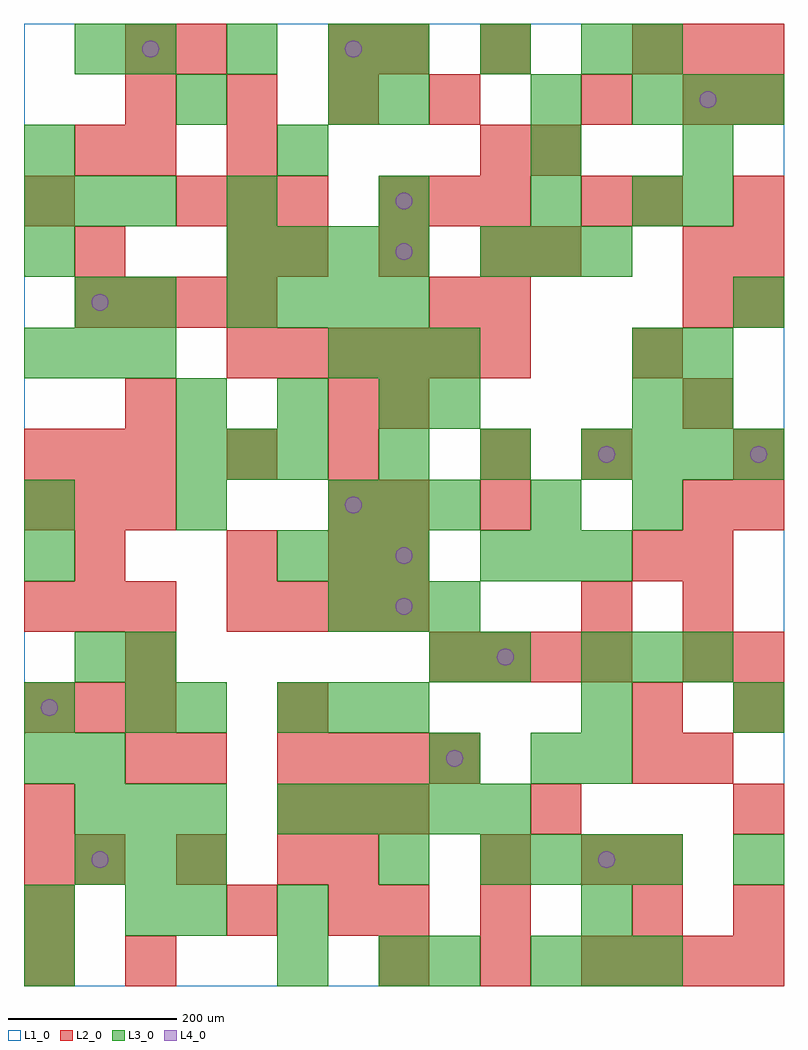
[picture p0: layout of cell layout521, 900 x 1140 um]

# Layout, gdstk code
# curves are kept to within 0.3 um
import gdstk
lib = gdstk.Library(unit=1e-6, precision=1e-09)
def R(c, l, rs):  # rectangles x0, y0, x1, y1
    for r in rs: c.add(gdstk.rectangle(r[:2], r[2:], *l))
def A(c, l, x, y, w, h, nx, ny, dx, dy):  # array of equal rectangles
    R(c, l, [(x+i*dx, y+j*dy, x+i*dx+w, y+j*dy+h) for i in range(nx) for j in range(ny)])
def P(c, l, *ps):  # polygons
    for p in ps: c.add(gdstk.Polygon(p, *l))
L1_0 = (1, 0)
L2_0 = (2, 0)
L3_0 = (3, 0)
L4_0 = (4, 0)

layout521 = lib.new_cell('layout521')
R(layout521, L1_0, [(0,0,900,1140)])
A(layout521, L2_0, 0, 0, 60, 60, 1, 4, 0, 60)
A(layout521, L2_0, 420, 0, 60, 60, 3, 1, 120, 0)
A(layout521, L2_0, 720, 0, 60, 60, 3, 2, 60, 1080)
A(layout521, L2_0, 840, 60, 60, 60, 1, 3, 0, 120)
A(layout521, L2_0, 60, 120, 60, 60, 3, 1, 120, 0)
A(layout521, L2_0, 300, 180, 60, 60, 3, 1, 60, 0)
A(layout521, L2_0, 300, 240, 60, 60, 4, 1, 60, 0)
A(layout521, L2_0, 0, 300, 60, 60, 3, 3, 60, 120)
A(layout521, L2_0, 120, 360, 60, 60, 1, 3, 0, 300)
A(layout521, L2_0, 480, 360, 60, 60, 4, 1, 60, 0)
A(layout521, L2_0, 780, 360, 60, 60, 1, 4, 0, 60)
A(layout521, L2_0, 240, 420, 60, 60, 4, 1, 60, 0)
A(layout521, L2_0, 360, 480, 60, 60, 1, 4, 0, 60)
A(layout521, L2_0, 0, 600, 60, 60, 3, 1, 60, 0)
A(layout521, L2_0, 540, 600, 60, 60, 1, 3, 0, 180)
A(layout521, L2_0, 240, 720, 60, 60, 6, 1, 60, 0)
A(layout521, L2_0, 60, 780, 60, 60, 4, 1, 60, 0)
A(layout521, L2_0, 840, 780, 60, 60, 1, 3, 0, 60)
A(layout521, L2_0, 300, 840, 60, 60, 3, 1, 120, 0)
A(layout521, L2_0, 180, 900, 60, 60, 3, 1, 60, 0)
A(layout521, L2_0, 420, 900, 60, 60, 3, 1, 60, 0)
A(layout521, L2_0, 120, 1020, 60, 60, 4, 1, 120, 0)
R(layout521, L2_0, [(120,0,180,60), (240,60,300,120), (360,60,420,120), (420,60,480,120), (540,60,600,120), (720,60,780,120), (360,120,420,180), (540,120,600,180), (660,120,720,180), (720,120,780,180), (600,180,660,240), (120,240,180,300), (180,240,240,300), (720,240,780,300), (780,240,840,300), (300,300,360,360), (720,300,780,360), (840,360,900,420), (660,420,720,480), (60,480,120,540), (240,480,300,540), (420,480,480,540), (720,480,780,540), (420,540,480,600), (540,540,600,600), (840,540,900,600), (240,600,300,660), (660,600,720,660), (840,600,900,660), (420,660,480,720), (780,660,840,720), (720,720,780,780), (480,780,540,840), (780,780,840,840), (60,840,120,900), (240,840,300,900), (600,840,660,900), (780,840,840,900), (0,900,60,960), (660,900,720,960), (720,900,780,960), (60,960,120,1020), (240,960,300,1020), (600,960,660,1020), (660,1020,720,1080), (780,1020,840,1080), (840,1020,900,1080), (120,1080,180,1140), (180,1080,240,1140), (360,1080,420,1140), (420,1080,480,1140), (540,1080,600,1140)])
A(layout521, L3_0, 600, 0, 60, 60, 3, 1, 60, 0)
A(layout521, L3_0, 60, 120, 60, 60, 3, 2, 60, 60)
A(layout521, L3_0, 540, 120, 60, 60, 4, 1, 60, 0)
A(layout521, L3_0, 300, 180, 60, 60, 5, 1, 60, 0)
A(layout521, L3_0, 300, 300, 60, 60, 3, 2, 60, 180)
A(layout521, L3_0, 660, 360, 60, 60, 3, 1, 60, 0)
A(layout521, L3_0, 360, 420, 60, 60, 3, 2, 60, 300)
A(layout521, L3_0, 540, 480, 60, 60, 3, 2, 60, 360)
A(layout521, L3_0, 0, 540, 60, 60, 3, 1, 180, 0)
A(layout521, L3_0, 480, 540, 60, 60, 3, 1, 120, 0)
A(layout521, L3_0, 180, 600, 60, 60, 3, 1, 60, 0)
A(layout521, L3_0, 420, 600, 60, 60, 3, 2, 120, 480)
A(layout521, L3_0, 720, 600, 60, 60, 3, 2, 60, 420)
A(layout521, L3_0, 180, 660, 60, 60, 3, 1, 120, 0)
A(layout521, L3_0, 0, 720, 60, 60, 3, 2, 60, 180)
A(layout521, L3_0, 720, 720, 60, 60, 1, 3, 0, 180)
A(layout521, L3_0, 240, 780, 60, 60, 4, 2, 60, 60)
A(layout521, L3_0, 240, 900, 60, 60, 3, 1, 180, 0)
A(layout521, L3_0, 0, 960, 60, 60, 3, 1, 300, 0)
A(layout521, L3_0, 120, 1080, 60, 60, 3, 1, 120, 0)
R(layout521, L3_0, [(0,0,60,60), (300,0,360,60), (420,0,480,60), (480,0,540,60), (0,60,60,120), (120,60,180,120), (180,60,240,120), (300,60,360,120), (660,60,720,120), (420,120,480,180), (840,120,900,180), (0,240,60,300), (60,240,120,300), (480,240,540,300), (600,240,660,300), (660,240,720,300), (0,300,60,360), (120,300,180,360), (180,300,240,360), (660,300,720,360), (840,300,900,360), (60,360,120,420), (120,360,180,420), (480,360,540,420), (540,360,600,420), (0,480,60,540), (420,540,480,600), (480,660,540,720), (720,660,780,720), (780,660,840,720), (780,720,840,780), (60,780,120,840), (120,780,180,840), (840,780,900,840), (0,840,60,900), (780,900,840,960), (780,960,840,1020), (180,1020,240,1080), (360,1020,420,1080), (420,1020,480,1080), (600,1020,660,1080), (60,1080,120,1140)])
P(layout521, L4_0, [(40,330),(39.239,333.827),(37.071,337.071),(33.827,339.239),(30,340),(26.173,339.239),(22.929,337.071),(20.761,333.827),(20,330),(20.761,326.173),(22.929,322.929),(26.173,320.761),(30,320),(33.827,320.761),(37.071,322.929),(39.239,326.173)],
  [(100,150),(99.239,153.827),(97.071,157.071),(93.827,159.239),(90,160),(86.173,159.239),(82.929,157.071),(80.761,153.827),(80,150),(80.761,146.173),(82.929,142.929),(86.173,140.761),(90,140),(93.827,140.761),(97.071,142.929),(99.239,146.173)],
  [(100,810),(99.239,813.827),(97.071,817.071),(93.827,819.239),(90,820),(86.173,819.239),(82.929,817.071),(80.761,813.827),(80,810),(80.761,806.173),(82.929,802.929),(86.173,800.761),(90,800),(93.827,800.761),(97.071,802.929),(99.239,806.173)],
  [(160,1110),(159.239,1113.827),(157.071,1117.071),(153.827,1119.239),(150,1120),(146.173,1119.239),(142.929,1117.071),(140.761,1113.827),(140,1110),(140.761,1106.173),(142.929,1102.929),(146.173,1100.761),(150,1100),(153.827,1100.761),(157.071,1102.929),(159.239,1106.173)],
  [(400,570),(399.239,573.827),(397.071,577.071),(393.827,579.239),(390,580),(386.173,579.239),(382.929,577.071),(380.761,573.827),(380,570),(380.761,566.173),(382.929,562.929),(386.173,560.761),(390,560),(393.827,560.761),(397.071,562.929),(399.239,566.173)],
  [(400,1110),(399.239,1113.827),(397.071,1117.071),(393.827,1119.239),(390,1120),(386.173,1119.239),(382.929,1117.071),(380.761,1113.827),(380,1110),(380.761,1106.173),(382.929,1102.929),(386.173,1100.761),(390,1100),(393.827,1100.761),(397.071,1102.929),(399.239,1106.173)],
  [(460,450),(459.239,453.827),(457.071,457.071),(453.827,459.239),(450,460),(446.173,459.239),(442.929,457.071),(440.761,453.827),(440,450),(440.761,446.173),(442.929,442.929),(446.173,440.761),(450,440),(453.827,440.761),(457.071,442.929),(459.239,446.173)],
  [(460,510),(459.239,513.827),(457.071,517.071),(453.827,519.239),(450,520),(446.173,519.239),(442.929,517.071),(440.761,513.827),(440,510),(440.761,506.173),(442.929,502.929),(446.173,500.761),(450,500),(453.827,500.761),(457.071,502.929),(459.239,506.173)],
  [(460,870),(459.239,873.827),(457.071,877.071),(453.827,879.239),(450,880),(446.173,879.239),(442.929,877.071),(440.761,873.827),(440,870),(440.761,866.173),(442.929,862.929),(446.173,860.761),(450,860),(453.827,860.761),(457.071,862.929),(459.239,866.173)],
  [(460,930),(459.239,933.827),(457.071,937.071),(453.827,939.239),(450,940),(446.173,939.239),(442.929,937.071),(440.761,933.827),(440,930),(440.761,926.173),(442.929,922.929),(446.173,920.761),(450,920),(453.827,920.761),(457.071,922.929),(459.239,926.173)],
  [(520,270),(519.239,273.827),(517.071,277.071),(513.827,279.239),(510,280),(506.173,279.239),(502.929,277.071),(500.761,273.827),(500,270),(500.761,266.173),(502.929,262.929),(506.173,260.761),(510,260),(513.827,260.761),(517.071,262.929),(519.239,266.173)],
  [(580,390),(579.239,393.827),(577.071,397.071),(573.827,399.239),(570,400),(566.173,399.239),(562.929,397.071),(560.761,393.827),(560,390),(560.761,386.173),(562.929,382.929),(566.173,380.761),(570,380),(573.827,380.761),(577.071,382.929),(579.239,386.173)],
  [(700,150),(699.239,153.827),(697.071,157.071),(693.827,159.239),(690,160),(686.173,159.239),(682.929,157.071),(680.761,153.827),(680,150),(680.761,146.173),(682.929,142.929),(686.173,140.761),(690,140),(693.827,140.761),(697.071,142.929),(699.239,146.173)],
  [(700,630),(699.239,633.827),(697.071,637.071),(693.827,639.239),(690,640),(686.173,639.239),(682.929,637.071),(680.761,633.827),(680,630),(680.761,626.173),(682.929,622.929),(686.173,620.761),(690,620),(693.827,620.761),(697.071,622.929),(699.239,626.173)],
  [(820,1050),(819.239,1053.827),(817.071,1057.071),(813.827,1059.239),(810,1060),(806.173,1059.239),(802.929,1057.071),(800.761,1053.827),(800,1050),(800.761,1046.173),(802.929,1042.929),(806.173,1040.761),(810,1040),(813.827,1040.761),(817.071,1042.929),(819.239,1046.173)],
  [(880,630),(879.239,633.827),(877.071,637.071),(873.827,639.239),(870,640),(866.173,639.239),(862.929,637.071),(860.761,633.827),(860,630),(860.761,626.173),(862.929,622.929),(866.173,620.761),(870,620),(873.827,620.761),(877.071,622.929),(879.239,626.173)])

lib.write_gds('layout521.gds')
